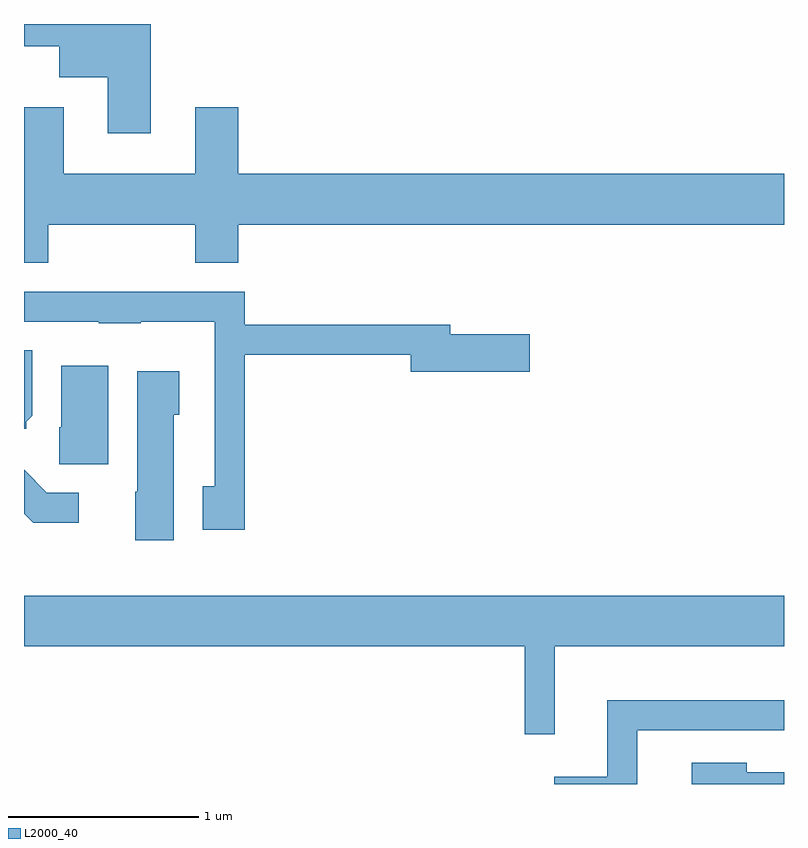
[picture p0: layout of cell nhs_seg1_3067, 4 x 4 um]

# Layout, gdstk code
import gdstk
lib = gdstk.Library(unit=1e-6, precision=1e-09)
def P(c, l, *ps):  # polygons
    for p in ps: c.add(gdstk.Polygon(p, *l))
L2000_40 = (2000, 40)

nhs_seg1_3067 = lib.new_cell('nhs_seg1_3067')
P(nhs_seg1_3067, L2000_40, [(278.279,931.712),(277.611,931.712),(277.611,931.596),(277.796,931.596),(277.796,931.431),(278.051,931.431),(278.051,931.136),(278.279,931.136)],
  [(277.739,930.656),(278.511,930.656),(278.511,930.456),(278.739,930.456),(278.739,930.656),(281.611,930.656),(281.611,930.924),(278.739,930.924),(278.739,931.274),(278.511,931.274),(278.511,930.924),(277.819,930.924),(277.819,931.274),(277.611,931.274),(277.611,930.456),(277.739,930.456)],
  [(278.774,929.971),(279.646,929.971),(279.646,929.881),(280.274,929.881),(280.274,930.079),(279.854,930.079),(279.854,930.129),(278.774,930.129),(278.774,930.304),(277.611,930.304),(277.611,930.146),(278.005,930.146),(278.005,930.136),(278.225,930.136),(278.225,930.146),(278.616,930.146),(278.616,929.279),(278.551,929.279),(278.551,929.051),(278.774,929.051)],
  [(277.624,929.619),(277.654,929.649),(277.654,929.994),(277.611,929.994),(277.611,929.581),(277.624,929.581)],
  [(278.054,929.914),(277.806,929.914),(277.806,929.59),(277.796,929.59),(277.796,929.396),(278.054,929.396)],
  [(278.399,929.656),(278.429,929.656),(278.429,929.884),(278.206,929.884),(278.206,929.25),(278.196,929.25),(278.196,928.996),(278.399,928.996)],
  [(277.898,929.244),(277.732,929.244),(277.611,929.365),(277.611,929.134),(277.659,929.086),(277.898,929.086)],
  [(280.404,928.436),(281.611,928.436),(281.611,928.704),(277.611,928.704),(277.611,928.436),(280.246,928.436),(280.246,927.973),(280.404,927.973)],
  [(280.839,927.996),(281.611,927.996),(281.611,928.154),(280.681,928.154),(280.681,927.749),(280.401,927.749),(280.401,927.712),(280.839,927.712)],
  [(281.611,927.774),(281.414,927.774),(281.414,927.824),(281.126,927.824),(281.126,927.712),(281.611,927.712)])

lib.write_gds('nhs_seg1_3067.gds')
